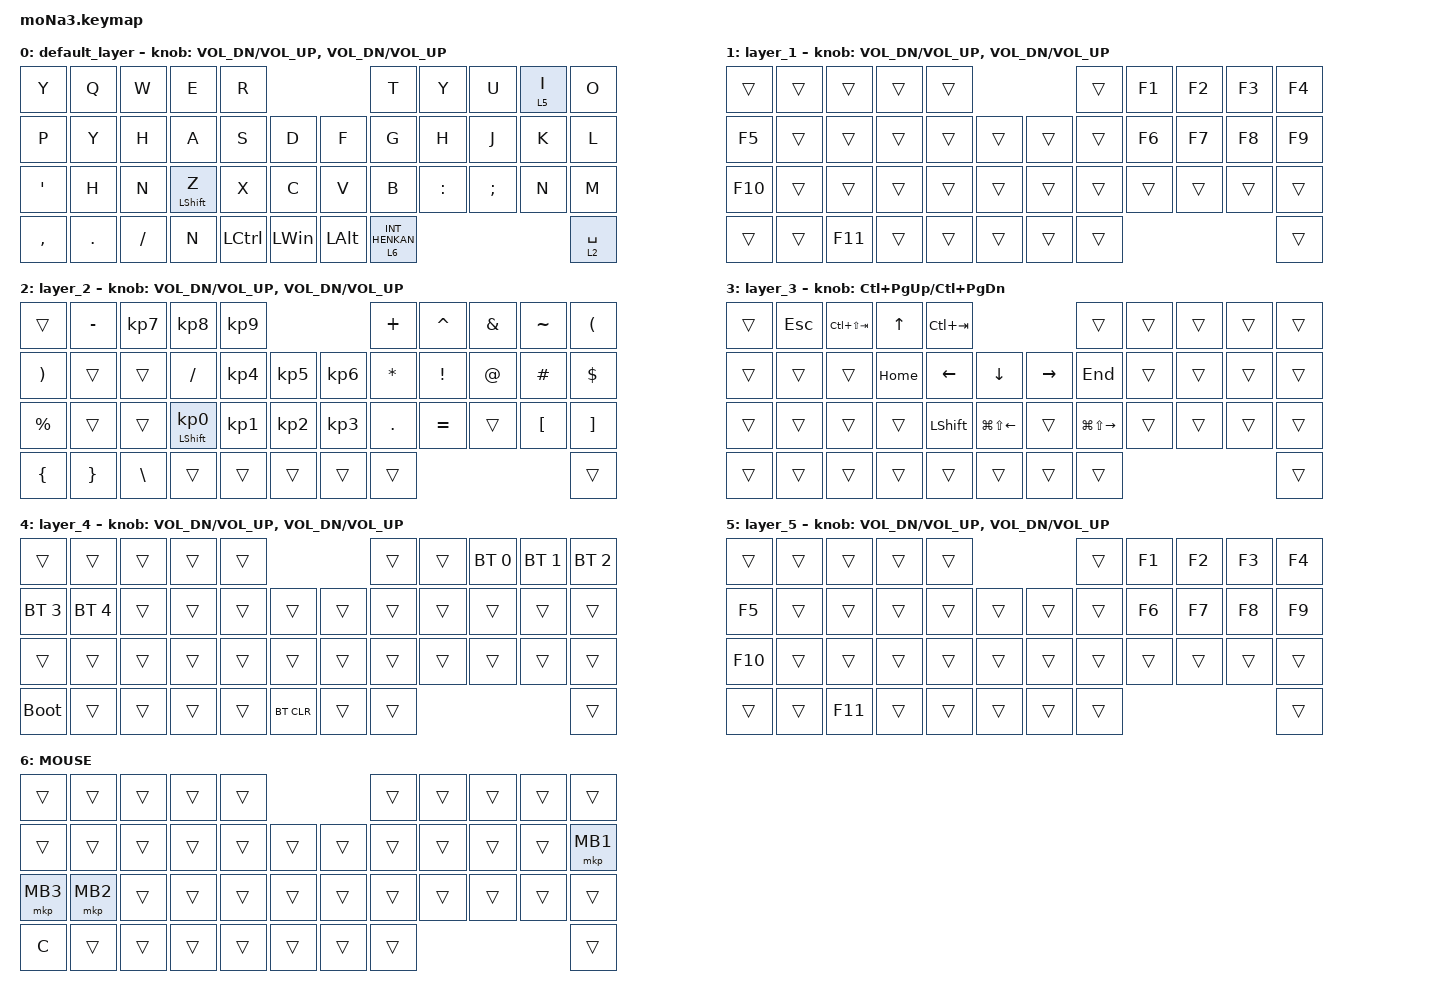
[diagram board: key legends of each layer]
#include <behaviors.dtsi>
#include <dt-bindings/zmk/bt.h>
#include <dt-bindings/zmk/keys.h>
#include <dt-bindings/zmk/pointing.h>
#include <dt-bindings/zmk/pointing.h>

#define MOUSE 6
#define ZMK_POINTING_DEFAULT_SCRL_VAL 100

&mt {
    flavor = "balanced";
    quick-tap-ms = <0>;
};

/ {
    combos { compatible = "zmk,combos"; };

    macros {
        to_layer_0: to_layer_0 {
            compatible = "zmk,behavior-macro-one-param";
            #binding-cells = <1>;
            bindings = <&to 0 &macro_param_1to1 &kp MACRO_PLACEHOLDER>;
            label = "TO_LAYER_0";
        };
    };

    behaviors {
        lt_to_layer_0: lt_to_layer_0 {
            compatible = "zmk,behavior-hold-tap";
            label = "LAYER_TAP_TO_0";
            bindings = <&mo>, <&to_layer_0>;

            #binding-cells = <2>;
            tapping-term-ms = <200>;
        };

        scroll_up_down: behavior_sensor_rotate_mouse_wheel_up_down {
            compatible = "zmk,behavior-sensor-rotate";
            #sensor-binding-cells = <0>;
            bindings = <&msc SCRL_UP>, <&msc SCRL_DOWN>;

            tap-ms = <20>;
        };
    };

    keymap {
        compatible = "zmk,keymap";

        default_layer {
            bindings = <
&kp Y      &kp Q    &kp W      &kp E             &kp R                                    &kp T                        &kp Y      &kp U          &lt 5 I  &kp O
&kp P      &kp Y    &kp H      &kp A             &kp S      &kp D           &kp F         &kp G                        &kp H      &kp J          &kp K    &kp L
&kp SQT    &kp H    &kp N      &mt LEFT_SHIFT Z  &kp X      &kp C           &kp V         &kp B                        &kp COLON  &kp SEMICOLON  &kp N    &kp M
&kp COMMA  &kp DOT  &kp SLASH  &kp N             &kp LCTRL  &kp LEFT_WIN    &kp LEFT_ALT  &lt_to_layer_0 6 INT_HENKAN                                     &lt 2 SPACE
            >;

            sensor-bindings = <&inc_dec_kp C_VOL_DN C_VOL_UP &inc_dec_kp C_VOL_DN C_VOL_UP>;
        };

        layer_1 {
            bindings = <
&trans   &trans  &trans   &trans  &trans                    &trans  &kp F1  &kp F2  &kp F3  &kp F4
&kp F5   &trans  &trans   &trans  &trans  &trans    &trans  &trans  &kp F6  &kp F7  &kp F8  &kp F9
&kp F10  &trans  &trans   &trans  &trans  &trans    &trans  &trans  &trans  &trans  &trans  &trans
&trans   &trans  &kp F11  &trans  &trans  &trans    &trans  &trans                          &trans
            >;

            sensor-bindings = <&inc_dec_kp C_VOL_DN C_VOL_UP &inc_dec_kp C_VOL_DN C_VOL_UP>;
        };

        layer_2 {
            bindings = <
&trans                 &kp MINUS        &kp KP_NUMBER_7  &kp KP_NUMBER_8             &kp KP_NUMBER_9                                      &kp PLUS      &kp CARET        &kp AMPERSAND  &kp TILDE         &kp LEFT_PARENTHESIS
&kp RIGHT_PARENTHESIS  &trans           &trans           &kp SLASH                   &kp KP_NUMBER_4  &kp KP_NUMBER_5    &kp KP_NUMBER_6  &kp ASTERISK  &kp EXCLAMATION  &kp AT_SIGN    &kp HASH          &kp DOLLAR
&kp PERCENT            &trans           &trans           &mt LEFT_SHIFT KP_NUMBER_0  &kp KP_NUMBER_1  &kp KP_NUMBER_2    &kp KP_NUMBER_3  &kp PERIOD    &kp EQUAL        &trans         &kp LEFT_BRACKET  &kp RIGHT_BRACKET
&kp LEFT_BRACE         &kp RIGHT_BRACE  &kp BACKSLASH    &trans                      &trans           &trans             &trans           &trans                                                          &trans
            >;

            sensor-bindings = <&inc_dec_kp C_VOL_DN C_VOL_UP &inc_dec_kp C_VOL_DN C_VOL_UP>;
        };

        layer_3 {
            bindings = <
&trans  &kp ESCAPE  &kp LC(LS(TAB))  &kp UP_ARROW  &kp LC(TAB)                                                &trans                   &trans  &trans  &trans  &trans
&trans  &trans      &trans           &kp HOME      &kp LEFT_ARROW  &kp DOWN_ARROW            &kp RIGHT_ARROW  &kp END                  &trans  &trans  &trans  &trans
&trans  &trans      &trans           &trans        &kp LEFT_SHIFT  &kp LG(LS(LEFT_ARROW))    &trans           &kp LG(LS(RIGHT_ARROW))  &trans  &trans  &trans  &trans
&trans  &trans      &trans           &trans        &trans          &trans                    &trans           &trans                                           &trans
            >;

            sensor-bindings = <&inc_dec_kp LC(PAGE_UP) LC(PAGE_DOWN)>;
        };

        layer_4 {
            bindings = <
&trans        &trans        &trans  &trans  &trans                        &trans  &trans  &bt BT_SEL 0  &bt BT_SEL 1  &bt BT_SEL 2
&bt BT_SEL 3  &bt BT_SEL 4  &trans  &trans  &trans  &trans        &trans  &trans  &trans  &trans        &trans        &trans
&trans        &trans        &trans  &trans  &trans  &trans        &trans  &trans  &trans  &trans        &trans        &trans
&bootloader   &trans        &trans  &trans  &trans  &bt BT_CLR    &trans  &trans                                      &trans
            >;

            sensor-bindings = <&inc_dec_kp C_VOL_DN C_VOL_UP &inc_dec_kp C_VOL_DN C_VOL_UP>;
        };

        layer_5 {
            bindings = <
&trans   &trans  &trans   &trans  &trans                    &trans  &kp F1  &kp F2  &kp F3  &kp F4
&kp F5   &trans  &trans   &trans  &trans  &trans    &trans  &trans  &kp F6  &kp F7  &kp F8  &kp F9
&kp F10  &trans  &trans   &trans  &trans  &trans    &trans  &trans  &trans  &trans  &trans  &trans
&trans   &trans  &kp F11  &trans  &trans  &trans    &trans  &trans                          &trans
            >;

            sensor-bindings = <&inc_dec_kp C_VOL_DN C_VOL_UP &inc_dec_kp C_VOL_DN C_VOL_UP>;
        };

        MOUSE {
            bindings = <
&trans    &trans    &trans  &trans  &trans                    &trans  &trans  &trans  &trans  &trans
&trans    &trans    &trans  &trans  &trans  &trans    &trans  &trans  &trans  &trans  &trans  &mkp MB1
&mkp MB3  &mkp MB2  &trans  &trans  &trans  &trans    &trans  &trans  &trans  &trans  &trans  &trans
&kp C     &trans    &trans  &trans  &trans  &trans    &trans  &trans                          &trans
            >;
        };
    };
};
